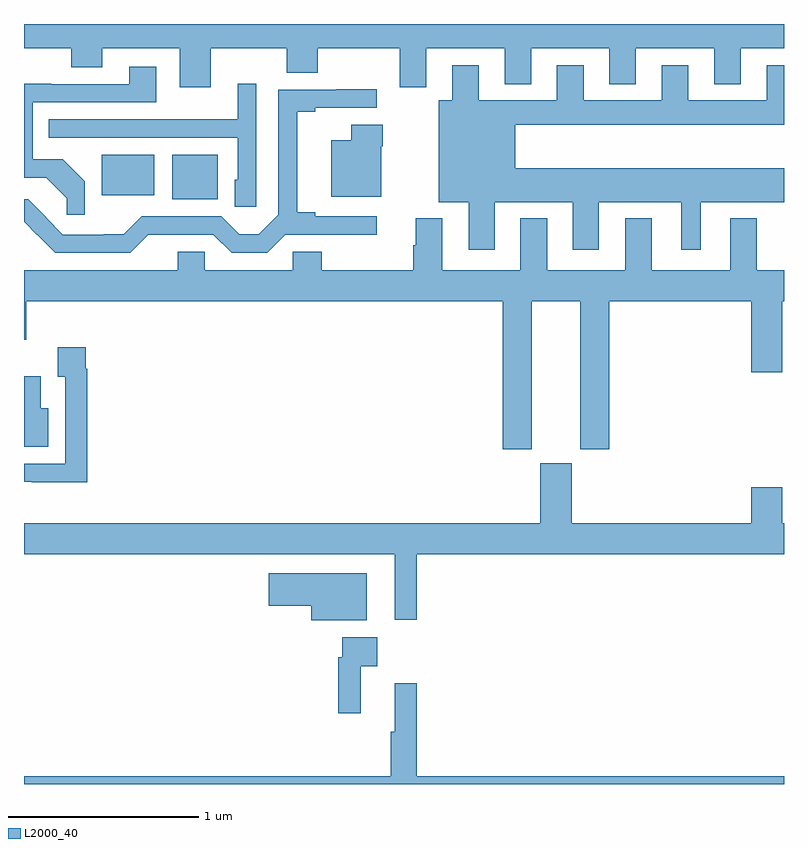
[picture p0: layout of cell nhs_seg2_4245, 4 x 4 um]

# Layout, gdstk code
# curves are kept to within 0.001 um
import gdstk
lib = gdstk.Library(unit=1e-6, precision=1e-09)
def R(c, l, rs):  # rectangles x0, y0, x1, y1
    for r in rs: c.add(gdstk.rectangle(r[:2], r[2:], *l))
def P(c, l, *ps):  # polygons
    for p in ps: c.add(gdstk.Polygon(p, *l))
L2000_40 = (2000, 40)

nhs_seg2_4245 = lib.new_cell('nhs_seg2_4245')
R(nhs_seg2_4245, L2000_40, [(341.78,610.877,342.019,611.113), (341.408,610.898,341.686,611.113)])
P(nhs_seg2_4245, L2000_40, [(341.983,611.672),(342.383,611.672),(342.383,611.544),(342.547,611.544),(342.547,611.672),(342.977,611.672),(342.977,611.466),(343.117,611.466),(343.117,611.672),(343.529,611.672),(343.529,611.483),(343.669,611.483),(343.669,611.672),(344.081,611.672),(344.081,611.483),(344.221,611.483),(344.221,611.672),(344.633,611.672),(344.633,611.483),(344.773,611.483),(344.773,611.672),(345,611.672),(345,611.8),(341,611.8),(341,611.672),(341.249,611.672),(341.249,611.573),(341.413,611.573),(341.413,611.672),(341.819,611.672),(341.819,611.466),(341.983,611.466)],
  [(343.477,610.862),(343.889,610.862),(343.889,610.611),(344.026,610.611),(344.026,610.862),(344.459,610.862),(344.459,610.611),(344.563,610.611),(344.563,610.862),(345,610.862),(345,611.041),(343.585,611.041),(343.585,611.27),(345,611.27),(345,611.584),(344.909,611.584),(344.909,611.398),(344.497,611.398),(344.497,611.584),(344.357,611.584),(344.357,611.398),(343.945,611.398),(343.945,611.584),(343.805,611.584),(343.805,611.398),(343.393,611.398),(343.393,611.584),(343.253,611.584),(343.253,611.398),(343.184,611.398),(343.184,610.862),(343.34,610.862),(343.34,610.611),(343.477,610.611)],
  [(341.319,610.972),(341.203,611.088),(341.046,611.088),(341.046,611.388),(341.695,611.388),(341.695,611.575),(341.555,611.575),(341.555,611.484),(341.143,611.484),(341.143,611.486),(341,611.486),(341,610.992),(341.116,610.992),(341.224,610.884),(341.224,610.797),(341.319,610.797)],
  [(342.222,611.485),(342.125,611.485),(342.125,611.299),(341.791,611.299),(341.791,611.298),(341.131,611.298),(341.131,611.202),(342.126,611.202),(342.126,610.98),(342.11,610.98),(342.11,610.837),(342.222,610.837)],
  [(341.654,610.691),(341.997,610.692),(342.093,610.596),(342.28,610.596),(342.376,610.692),(342.856,610.691),(342.856,610.788),(342.532,610.788),(342.532,610.808),(342.437,610.808),(342.437,611.338),(342.532,611.338),(342.532,611.358),(342.856,611.358),(342.856,611.456),(342.643,611.456),(342.643,611.454),(342.339,611.454),(342.339,610.797),(342.235,610.693),(342.134,610.693),(342.039,610.788),(341.619,610.788),(341.525,610.694),(341.42,610.694),(341.42,610.692),(341.205,610.692),(341.115,610.782),(341.117,610.784),(341.023,610.878),(341,610.878),(341,610.759),(341.165,610.596),(341.559,610.596)],
  [(342.88,611.156),(342.888,611.156),(342.888,611.269),(342.722,611.269),(342.722,611.188),(342.617,611.188),(342.617,610.892),(342.88,610.892)],
  [(343.672,610.34),(343.928,610.34),(343.928,609.561),(344.081,609.561),(344.081,610.34),(344.828,610.34),(344.828,609.966),(344.992,609.966),(344.992,610.34),(345,610.34),(345,610.504),(344.857,610.504),(344.857,610.777),(344.717,610.777),(344.717,610.504),(344.305,610.504),(344.305,610.777),(344.165,610.777),(344.165,610.504),(343.753,610.504),(343.753,610.777),(343.613,610.777),(343.613,610.504),(343.201,610.504),(343.201,610.777),(343.061,610.777),(343.061,610.635),(343.049,610.635),(343.049,610.504),(342.566,610.504),(342.566,610.602),(342.414,610.602),(342.414,610.504),(341.952,610.504),(341.952,610.602),(341.81,610.602),(341.81,610.504),(341,610.504),(341,610.138),(341.012,610.138),(341.012,610.34),(343.52,610.34),(343.52,609.561),(343.672,609.561)],
  [(341.333,609.986),(341.326,609.986),(341.326,610.099),(341.177,610.099),(341.177,609.943),(341.217,609.943),(341.217,609.486),(341,609.486),(341,609.39),(341.041,609.39),(341.041,609.389),(341.333,609.389)],
  [(341.128,609.778),(341.089,609.778),(341.089,609.946),(341,609.946),(341,609.575),(341.128,609.575)],
  [(343.067,609.008),(345,609.008),(345,609.172),(344.992,609.172),(344.992,609.361),(344.828,609.361),(344.828,609.172),(343.882,609.172),(343.882,609.489),(343.718,609.489),(343.718,609.172),(341,609.172),(341,609.008),(342.95,609.008),(342.95,608.664),(343.067,608.664)],
  [(342.805,608.908),(342.288,608.908),(342.288,608.738),(342.512,608.738),(342.512,608.663),(342.805,608.663)],
  [(342.773,608.42),(342.859,608.42),(342.859,608.572),(342.675,608.572),(342.675,608.468),(342.655,608.468),(342.655,608.172),(342.773,608.172)],
  [(345,607.84),(343.067,607.84),(343.067,608.329),(342.95,608.329),(342.95,608.076),(342.931,608.076),(342.931,607.84),(341,607.84),(341,607.8),(345,607.8)])

lib.write_gds('nhs_seg2_4245.gds')
